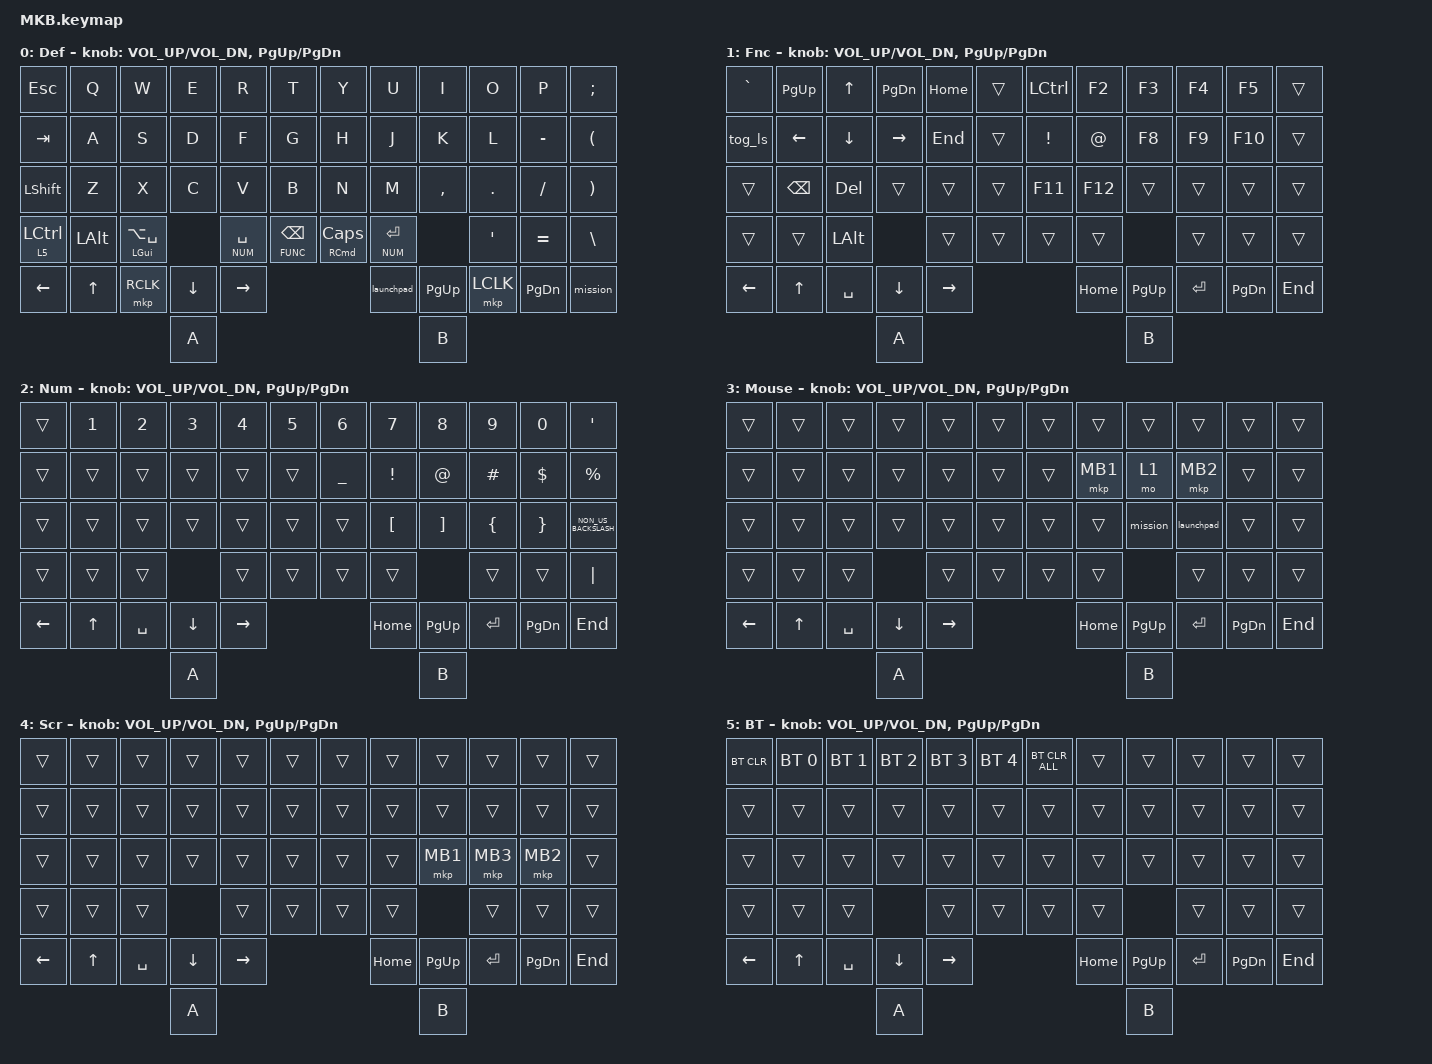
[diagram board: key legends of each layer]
// #include <layout_shift.dtsi>

#include <layout_shift_kp_override.dtsi>
#include <input/processors.dtsi>  /* ★ 追加 */
#include <behaviors.dtsi>
#include <dt-bindings/zmk/bt.h>
#include <dt-bindings/zmk/keys.h>
#include <dt-bindings/zmk/pointing.h>

#define DEF 0
#define FUNC 1
#define NUM 2
#define MOUSE 3
#define SCROLL 4
#define BT 5

&mt {
    flavor = "balanced";
    tapping-term-ms = <280>;
    quick-tap-ms = <175>;
    require-prior-idle-ms = <150>;
};

/* ★ マウスキー（&mkp）用リスナに AML を紐づける */

&mkp_input_listener {
    /* <&zip_temp_layer レイヤー番号 タイムアウト(ms)> */

    input-processors = <&zip_temp_layer MOUSE 250>;
};

/ {
    macros {
        mission: mission {
            compatible = "zmk,behavior-macro";
            #binding-cells = <0>;
            bindings = <&kp LC(UP_ARROW)>;
            label = "MISSION";
        };

        launchpad: launchpad {
            compatible = "zmk,behavior-macro";
            #binding-cells = <0>;
            bindings = <&kp LG(SPACE)>;
            label = "LAUNCHPAD";
        };

        cap: cap {
            compatible = "zmk,behavior-macro";
            #binding-cells = <0>;
            bindings = <&kp LG(LS(N5))>;
            label = "CAP";
        };
    };

    combos {
        compatible = "zmk,combos";

        l_disp {
            bindings = <&kp LA(LC(D))>;
            key-positions = <24 25>;
        };

        c_disp {
            bindings = <&kp LC(LA(F))>;
            key-positions = <25 26>;
        };

        r_disp {
            bindings = <&kp LA(LC(G))>;
            key-positions = <26 27>;
        };

        full_disp {
            bindings = <&kp LA(LC(RET))>;
            key-positions = <27 28>;
        };

        left {
            bindings = <&kp LEFT_PARENTHESIS>;
            key-positions = <15 16>;
        };

        right {
            bindings = <&kp RIGHT_PARENTHESIS>;
            key-positions = <16 17>;
        };

        mission {
            bindings = <&mission>;
            key-positions = <19 20>;
        };

        lunch {
            bindings = <&launchpad>;
            key-positions = <20 21>;
        };
    };

    keymap {
        compatible = "zmk,keymap";

        default_layer {
            label = "Def";
            bindings = <
&kp ESCAPE   &kp Q         &kp W                   &kp E     &kp R          &kp T                   &kp Y                       &kp U          &kp I      &kp O             &kp P      &kp SEMICOLON
&kp TAB      &kp A         &kp S                   &kp D     &kp F          &kp G                   &kp H                       &kp J          &kp K      &kp L             &kp MINUS  &kp LEFT_PARENTHESIS
&kp LSHFT    &kp Z         &kp X                   &kp C     &kp V          &kp B                   &kp N                       &kp M          &kp COMMA  &kp DOT           &kp SLASH  &kp RIGHT_PARENTHESIS
&lt 5 LCTRL  &kp LEFT_ALT  &mt LEFT_GUI LA(SPACE)            &lt NUM SPACE  &lt FUNC BACKSPACE      &mt RIGHT_COMMAND CAPSLOCK  &lt NUM ENTER             &kp SINGLE_QUOTE  &kp EQUAL  &kp BACKSLASH
&kp LEFT     &kp UP        &mkp RCLK               &kp DOWN  &kp RIGHT                                                          &launchpad     &kp PG_UP  &mkp LCLK         &kp PG_DN  &mission
                                                   &kp A                                                                                       &kp B
            >;

            sensor-bindings = <&inc_dec_kp C_VOL_UP C_VOL_DN &inc_dec_kp PG_UP PG_DN>;
        };

        function_layer {
            label = "Fnc";
            bindings = <
&kp GRAVE  &kp PG_UP  &kp UP     &kp PG_DN  &kp HOME   &trans      &kp LCTRL        &kp F2       &kp F3     &kp F4     &kp F5     &trans
&tog_ls    &kp LEFT   &kp DOWN   &kp RIGHT  &kp END    &trans      &kp EXCLAMATION  &kp AT_SIGN  &kp F8     &kp F9     &kp F10    &trans
&trans     &kp BKSP   &kp DEL    &trans     &trans     &trans      &kp F11          &kp F12      &trans     &trans     &trans     &trans
&trans     &trans     &kp LALT              &trans     &trans      &trans           &trans                  &trans     &trans     &trans
&kp LEFT   &kp UP     &kp SPACE  &kp DOWN   &kp RIGHT                               &kp HOME     &kp PG_UP  &kp ENTER  &kp PG_DN  &kp END
                                 &kp A                                                           &kp B
            >;

            sensor-bindings = <&inc_dec_kp C_VOL_UP C_VOL_DN &inc_dec_kp PG_UP PG_DN>;
        };

        num_layer {
            label = "Num";
            bindings = <
&trans    &kp NUMBER_1  &kp NUMBER_2  &kp NUMBER_3  &kp NUMBER_4  &kp N5      &kp NUMBER_6    &kp N7            &kp N8             &kp N9          &kp N0           &kp SQT
&trans    &trans        &trans        &trans        &trans        &trans      &kp UNDERSCORE  &kp EXCLAMATION   &kp AT_SIGN        &kp HASH        &kp DOLLAR       &kp PERCENT
&trans    &trans        &trans        &trans        &trans        &trans      &trans          &kp LEFT_BRACKET  &kp RIGHT_BRACKET  &kp LEFT_BRACE  &kp RIGHT_BRACE  &kp NON_US_BACKSLASH
&trans    &trans        &trans                      &trans        &trans      &trans          &trans                               &trans          &trans           &kp PIPE
&kp LEFT  &kp UP        &kp SPACE     &kp DOWN      &kp RIGHT                                 &kp HOME          &kp PG_UP          &kp ENTER       &kp PG_DN        &kp END
                                      &kp A                                                                     &kp B
            >;

            sensor-bindings = <&inc_dec_kp C_VOL_UP C_VOL_DN &inc_dec_kp PG_UP PG_DN>;
        };

        mouse_layer {
            label = "Mouse";
            bindings = <
&trans    &trans  &trans     &trans    &trans     &trans      &trans  &trans    &trans     &trans      &trans     &trans
&trans    &trans  &trans     &trans    &trans     &trans      &trans  &mkp MB1  &mo 1      &mkp MB2    &trans     &trans
&trans    &trans  &trans     &trans    &trans     &trans      &trans  &trans    &mission   &launchpad  &trans     &trans
&trans    &trans  &trans               &trans     &trans      &trans  &trans               &trans      &trans     &trans
&kp LEFT  &kp UP  &kp SPACE  &kp DOWN  &kp RIGHT                      &kp HOME  &kp PG_UP  &kp ENTER   &kp PG_DN  &kp END
                             &kp A                                              &kp B
            >;

            sensor-bindings = <&inc_dec_kp C_VOL_UP C_VOL_DN &inc_dec_kp PG_UP PG_DN>;
        };

        scroll_layer {
            label = "Scr";
            bindings = <
&trans    &trans  &trans     &trans    &trans     &trans      &trans  &trans    &trans     &trans     &trans     &trans
&trans    &trans  &trans     &trans    &trans     &trans      &trans  &trans    &trans     &trans     &trans     &trans
&trans    &trans  &trans     &trans    &trans     &trans      &trans  &trans    &mkp MB1   &mkp MB3   &mkp MB2   &trans
&trans    &trans  &trans               &trans     &trans      &trans  &trans               &trans     &trans     &trans
&kp LEFT  &kp UP  &kp SPACE  &kp DOWN  &kp RIGHT                      &kp HOME  &kp PG_UP  &kp ENTER  &kp PG_DN  &kp END
                             &kp A                                              &kp B
            >;

            sensor-bindings = <&inc_dec_kp C_VOL_UP C_VOL_DN &inc_dec_kp PG_UP PG_DN>;
        };

        bt_layer {
            label = "BT";
            bindings = <
&bt BT_CLR  &bt BT_SEL 0  &bt BT_SEL 1  &bt BT_SEL 2  &bt BT_SEL 3  &bt BT_SEL 4      &bt BT_CLR_ALL  &trans    &trans     &trans     &trans     &trans
&trans      &trans        &trans        &trans        &trans        &trans            &trans          &trans    &trans     &trans     &trans     &trans
&trans      &trans        &trans        &trans        &trans        &trans            &trans          &trans    &trans     &trans     &trans     &trans
&trans      &trans        &trans                      &trans        &trans            &trans          &trans               &trans     &trans     &trans
&kp LEFT    &kp UP        &kp SPACE     &kp DOWN      &kp RIGHT                                       &kp HOME  &kp PG_UP  &kp ENTER  &kp PG_DN  &kp END
                                        &kp A                                                                   &kp B
            >;

            sensor-bindings = <&inc_dec_kp C_VOL_UP C_VOL_DN &inc_dec_kp PG_UP PG_DN>;
        };
    };
};
